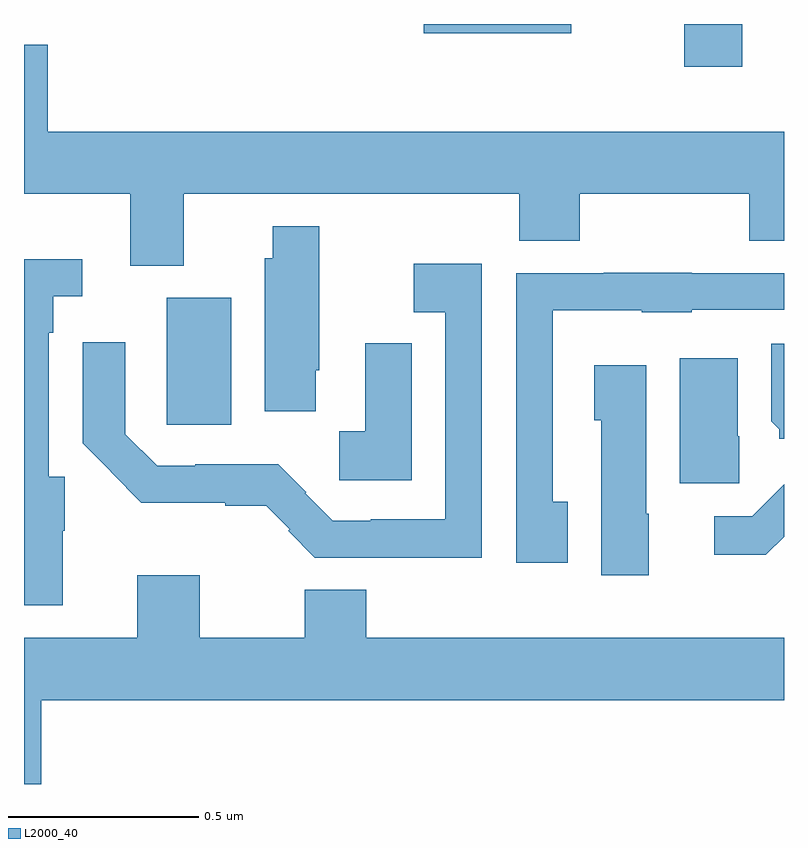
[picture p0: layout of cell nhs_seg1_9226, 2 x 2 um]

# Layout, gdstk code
import gdstk
lib = gdstk.Library(unit=1e-6, precision=1e-09)
def R(c, l, rs):  # rectangles x0, y0, x1, y1
    for r in rs: c.add(gdstk.rectangle(r[:2], r[2:], *l))
def P(c, l, *ps):  # polygons
    for p in ps: c.add(gdstk.Polygon(p, *l))
L2000_40 = (2000, 40)

nhs_seg1_9226 = lib.new_cell('nhs_seg1_9226')
R(nhs_seg1_9226, L2000_40, [(226.376,531.144,226.546,531.478), (227.737,532.086,227.89,532.199), (227.052,532.175,227.44,532.199)])
P(nhs_seg1_9226, L2000_40, [(226.42,531.752),(227.303,531.752),(227.303,531.628),(227.463,531.628),(227.463,531.752),(227.908,531.752),(227.908,531.628),(228,531.628),(228,531.916),(226.063,531.916),(226.063,532.144),(226,532.144),(226,531.752),(226.28,531.752),(226.28,531.563),(226.42,531.563)],
  [(226.768,531.288),(226.777,531.288),(226.777,531.667),(226.655,531.667),(226.655,531.582),(226.634,531.582),(226.634,531.18),(226.768,531.18)],
  [(226.102,530.865),(226.107,530.865),(226.107,531.008),(226.065,531.008),(226.065,531.386),(226.077,531.386),(226.077,531.483),(226.153,531.483),(226.153,531.58),(226,531.58),(226,530.669),(226.102,530.669)],
  [(227.205,531.568),(227.026,531.568),(227.026,531.44),(227.109,531.44),(227.109,530.896),(226.912,530.896),(226.912,530.892),(226.812,530.892),(226.74,530.964),(226.743,530.967),(226.669,531.041),(226.45,531.041),(226.45,531.036),(226.35,531.036),(226.266,531.12),(226.266,531.361),(226.154,531.361),(226.154,531.096),(226.228,531.022),(226.228,531.021),(226.309,530.939),(226.529,530.939),(226.529,530.931),(226.637,530.931),(226.699,530.869),(226.695,530.865),(226.765,530.795),(227.205,530.795)],
  [(227.431,530.942),(227.391,530.942),(227.391,531.446),(227.625,531.446),(227.625,531.44),(227.757,531.44),(227.757,531.447),(228,531.447),(228,531.543),(227.757,531.543),(227.757,531.545),(227.525,531.545),(227.525,531.543),(227.295,531.543),(227.295,530.781),(227.431,530.781)],
  [(227.02,531.359),(226.898,531.359),(226.898,531.127),(226.83,531.127),(226.83,530.998),(227.02,530.998)],
  [(228,531.358),(227.966,531.358),(227.966,531.154),(227.988,531.132),(227.988,531.107),(228,531.107)],
  [(227.882,531.114),(227.878,531.114),(227.878,531.319),(227.726,531.319),(227.726,530.991),(227.882,530.991)],
  [(227.644,530.91),(227.638,530.91),(227.638,531.301),(227.501,531.301),(227.501,531.156),(227.519,531.156),(227.519,530.748),(227.644,530.748)],
  [(228,530.85),(228,530.988),(227.916,530.904),(227.817,530.904),(227.817,530.802),(227.952,530.802)],
  [(226.046,530.42),(228,530.42),(228,530.584),(226.9,530.584),(226.9,530.71),(226.739,530.71),(226.739,530.584),(226.462,530.584),(226.462,530.749),(226.298,530.749),(226.298,530.584),(226,530.584),(226,530.199),(226.046,530.199)])

lib.write_gds('nhs_seg1_9226.gds')
